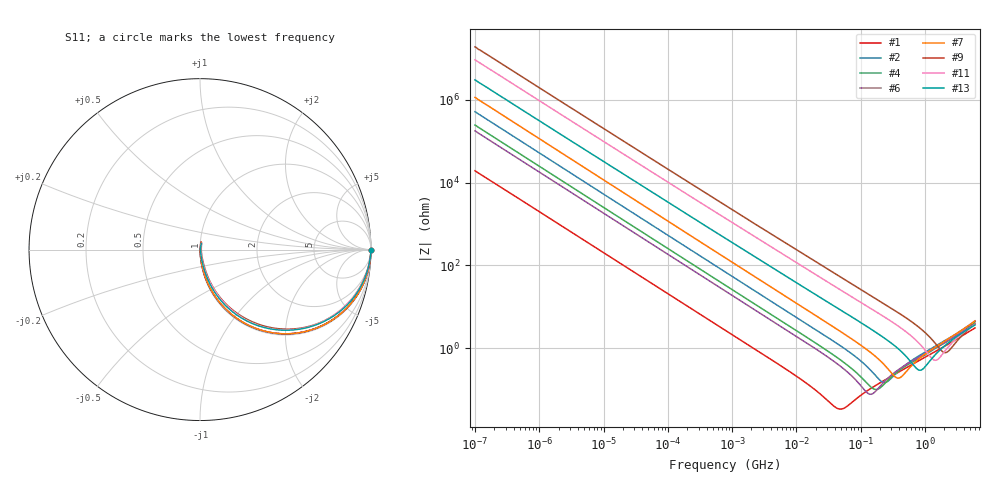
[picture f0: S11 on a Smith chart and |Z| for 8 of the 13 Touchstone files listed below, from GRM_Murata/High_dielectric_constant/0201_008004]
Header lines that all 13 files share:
!These Parameters are Measured in Series Mode Connection
!Data Generated on Mar 30, 2021
!  o--ll--o
!Port1  Port2
!  o------o
!Operation Temp=25[degC], DC Bias Voltage=0[V]
!Freq. Start=100[Hz] Stop=6[GHz] 401[Steps]
# Hz S RI R 50
!Freq.(Hz) S11(Real) S11(Imag) S21(Real) S21(Imag) S12(Real) S12(Imag) S22(Real) S22(Imag)
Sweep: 100 Hz to 6 GHz
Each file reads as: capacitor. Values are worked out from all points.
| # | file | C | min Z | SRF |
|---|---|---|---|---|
| 1 | GRM011C80E104ME01.s2p | 82.1 nF | 34 mohm | 50.19 MHz |
| 2 | GRM011R60G332KE01.s2p | 3.09 nF | 149 mohm | 241.1 MHz |
| 3 | GRM011R60G472KE01.s2p | 4.63 nF | 116 mohm | 199.3 MHz |
| 4 | GRM011R60G682KE01.s2p | 6.48 nF | 101 mohm | 176.9 MHz |
| 5 | GRM011R60J102ME01.s2p | 977 pF | 235 mohm | 464.1 MHz |
| 6 | GRM011R60J103KE01.s2p | 8.97 nF | 77.6 mohm | 145.5 MHz |
| 7 | GRM011R60J152KE01.s2p | 1.4 nF | 190 mohm | 388 MHz |
| 8 | GRM011R60J222KE01.s2p | 2.21 nF | 132 mohm | 320.6 MHz |
| 9 | GRM011R61A101ME01.s2p | 83.9 pF | 783 mohm | 2.056 GHz |
| 10 | GRM011R61A151KE01.s2p | 118 pF | 688 mohm | 1.757 GHz |
| 11 | GRM011R61A221KE01.s2p | 173 pF | 512 mohm | 1.452 GHz |
| 12 | GRM011R61A331ME01.s2p | 239 pF | 495 mohm | 1.169 GHz |
| 13 | GRM011R61A681KE01.s2p | 527 pF | 294 mohm | 835.1 MHz |
